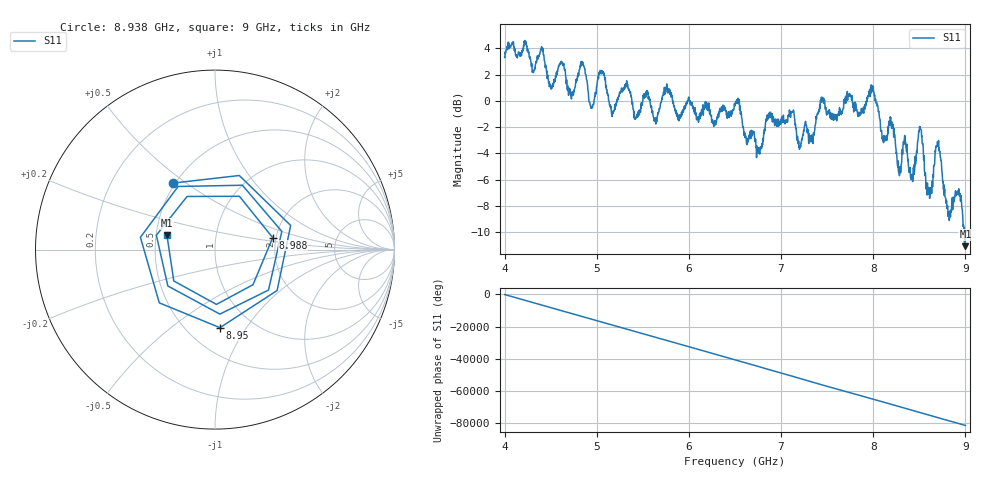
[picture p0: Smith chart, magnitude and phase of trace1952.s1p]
! Created with skrf 1.8.0 (http://scikit-rf.org).
# Hz S RI R 50.0
!freq ReS11 ImS11
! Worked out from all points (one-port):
!   1601 points, 4 GHz to 9 GHz, reference 50 ohm
!   lowest |S11| = -11.1 dB at 9 GHz (marker M1), VSWR 1.78, Z = 28.6 + j4.93 ohm
!   |S11| at or under -10 dB: 8.988858 GHz to end of sweep
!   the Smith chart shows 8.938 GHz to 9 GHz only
!   S11 on the Smith chart (normalised r, x): 8.938 GHz: 0.49, +0.45; 8.95 GHz: 0.71, -0.77; 8.988 GHz: 1.92, +0.29; 9 GHz: 0.57, +0.10
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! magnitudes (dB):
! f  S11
! 4 GHz  3.3
! 4.403 GHz  4.1
! 4.503 GHz  0.9
! 4.625 GHz  2.9
! 4.728 GHz  0.5
! 4.847 GHz  2.9
! 4.941 GHz  -0.4
! 5.047 GHz  2.0
! 5.162 GHz  -1.0
! 5.25 GHz  0.5
! 5.875 GHz  -1.1
! 6.5 GHz  -0.3
! 6.753 GHz  -3.6
! 7.125 GHz  -0.9
! 7.206 GHz  -3.5
! 7.75 GHz  0.3
! 7.994 GHz  1.1
! 8.106 GHz  -3.1
! 8.375 GHz  -4.6
! 8.428 GHz  -6.2
! 8.512 GHz  -2.1
! 8.597 GHz  -6.7
! 8.697 GHz  -3.1
! 8.812 GHz  -8.8
! 8.938 GHz  -7.2
! 8.95 GHz  -7.2
! 8.988 GHz  -9.7
! 9 GHz  -11.1
